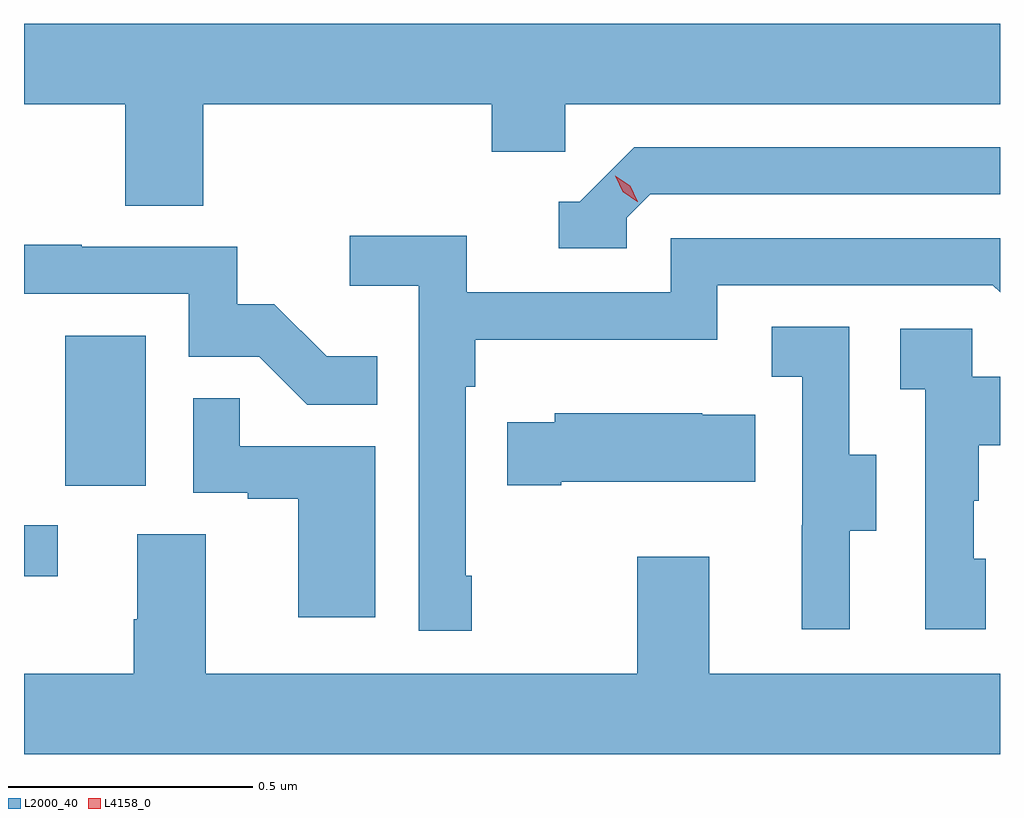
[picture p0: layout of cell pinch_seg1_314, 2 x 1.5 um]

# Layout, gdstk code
import gdstk
lib = gdstk.Library(unit=1e-6, precision=1e-09)
def R(c, l, rs):  # rectangles x0, y0, x1, y1
    for r in rs: c.add(gdstk.rectangle(r[:2], r[2:], *l))
def P(c, l, *ps):  # polygons
    for p in ps: c.add(gdstk.Polygon(p, *l))
L2000_40 = (2000, 40)
L4158_0 = (4158, 0)

pinch_seg1_314 = lib.new_cell('pinch_seg1_314')
R(pinch_seg1_314, L2000_40, [(932.911,542.772,932.98,542.877), (932.996,542.958,933.16,543.265)])
P(pinch_seg1_314, L2000_40, [(933.278,543.74),(933.869,543.74),(933.869,543.642),(934.02,543.642),(934.02,543.74),(934.911,543.74),(934.911,543.904),(932.911,543.904),(932.911,543.74),(933.118,543.74),(933.118,543.532),(933.278,543.532)],
  [(934.146,543.507),(934.194,543.555),(934.911,543.555),(934.911,543.651),(934.161,543.651),(934.05,543.54),(934.007,543.54),(934.007,543.444),(934.146,543.444)],
  [(933.829,542.773),(933.816,542.773),(933.816,543.161),(933.836,543.161),(933.836,543.257),(934.332,543.257),(934.332,543.369),(934.896,543.369),(934.911,543.354),(934.911,543.465),(934.236,543.465),(934.236,543.354),(933.818,543.354),(933.818,543.47),(933.579,543.47),(933.579,543.368),(933.72,543.368),(933.72,542.661),(933.829,542.661)],
  [(933.635,543.223),(933.531,543.223),(933.424,543.33),(933.348,543.33),(933.348,543.447),(933.029,543.447),(933.029,543.452),(932.911,543.452),(932.911,543.351),(933.249,543.351),(933.249,543.222),(933.393,543.222),(933.491,543.124),(933.635,543.124)],
  [(934.603,542.866),(934.657,542.866),(934.657,543.021),(934.602,543.021),(934.602,543.284),(934.443,543.284),(934.443,543.181),(934.506,543.181),(934.506,542.877),(934.505,542.877),(934.505,542.664),(934.603,542.664)],
  [(934.882,542.808),(934.857,542.808),(934.857,542.927),(934.867,542.927),(934.867,543.041),(934.911,543.041),(934.911,543.181),(934.854,543.181),(934.854,543.279),(934.707,543.279),(934.707,543.155),(934.758,543.155),(934.758,542.664),(934.882,542.664)],
  [(933.631,543.039),(933.353,543.039),(933.353,543.137),(933.258,543.137),(933.258,542.943),(933.369,542.943),(933.369,542.931),(933.473,542.931),(933.473,542.688),(933.631,542.688)],
  [(934.012,542.966),(934.409,542.966),(934.409,543.103),(934.301,543.103),(934.301,543.106),(933.999,543.106),(933.999,543.088),(933.901,543.088),(933.901,542.959),(934.012,542.959)],
  [(934.911,542.572),(934.315,542.572),(934.315,542.812),(934.168,542.812),(934.168,542.572),(933.283,542.572),(933.283,542.858),(933.143,542.858),(933.143,542.684),(933.136,542.684),(933.136,542.572),(932.911,542.572),(932.911,542.408),(934.911,542.408)])
P(pinch_seg1_314, L4158_0, [(934.168,543.54),(934.138,543.56),(934.123,543.593),(934.123,543.593),(934.123,543.593),(934.153,543.573),(934.169,543.54),(934.169,543.54)])

lib.write_gds('pinch_seg1_314.gds')
